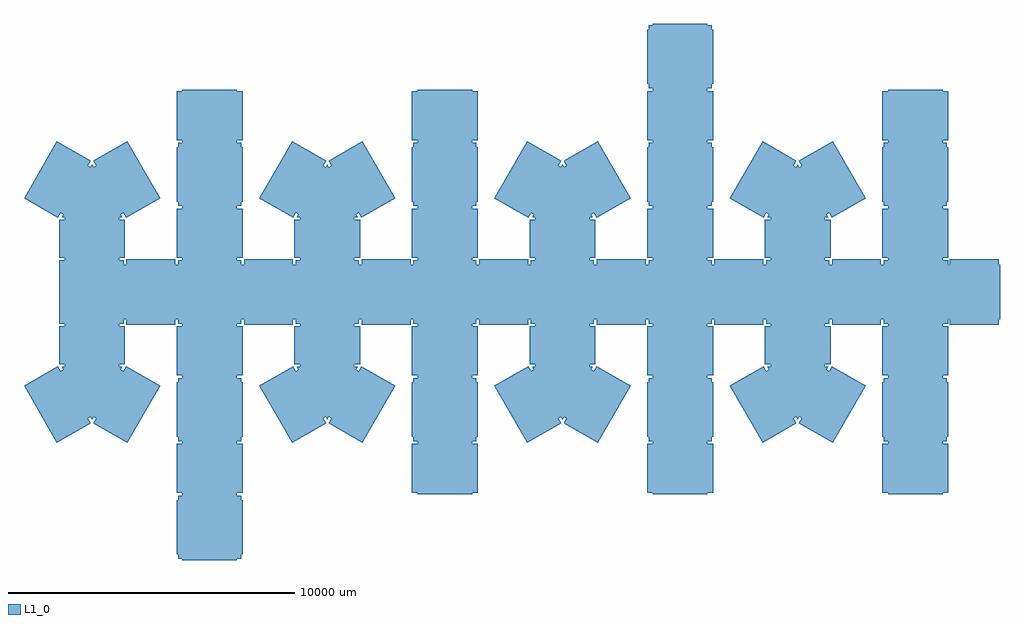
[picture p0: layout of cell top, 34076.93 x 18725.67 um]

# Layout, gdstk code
from math import pi, radians
import gdstk
lib = gdstk.Library(unit=1e-6, precision=1e-09)
def P(c, l, *ps):  # polygons
    for p in ps: c.add(gdstk.Polygon(p, *l))
L1_0 = (1, 0)

connector_6notches = lib.new_cell('connector_6notches')
P(connector_6notches, L1_0, [(2250,2100),(2250,2250),(2100,2250),(2100,2300),(200,2300),(200,2250),(0,2250),(0,50),(200,50),(200,0),(2100,0),(2100,50),(2250,50),(2250,200),(2300,200),(2300,2100)])

connector = lib.new_cell('connector')
P(connector, L1_0, [(2250,2100),(2250,2250),(2100,2250),(2100,2300),(200,2300),(200,2250),(50,2250),(50,2100),(0,2100),(0,200),(50,200),(50,50),(200,50),(200,0),(2100,0),(2100,50),(2250,50),(2250,200),(2300,200),(2300,2100)])

l1_rec = lib.new_cell('l1_rec')
P(l1_rec, L1_0, [(2100,1365.189),(2100,1415.189),(200,1415.189),(200,1365.189),(0,1365.189),(0,50),(200,50),(200,0),(2100,0),(2100,50),(2300,50),(2300,1365.189)])

l1_rec_2notches = lib.new_cell('l1_rec_2notches')
P(l1_rec_2notches, L1_0, [(200,0),(2100,0),(2100,50),(2300,50),(2300,1415.189),(0,1415.189),(0,50),(200,50)])

l1_rec_60deg = lib.new_cell('l1_rec_60deg')
r = gdstk.Reference(l1_rec_2notches, (0,0), rotation=radians(60)); r.repetition = gdstk.Repetition(1, 1, v1=(0,0), v2=(0,0)); l1_rec_60deg.add(r)

l1_rec_120deg_xref = lib.new_cell('l1_rec_120deg_xref')
r = gdstk.Reference(l1_rec_2notches, (0,0), rotation=radians(120.001), x_reflection=True); r.repetition = gdstk.Repetition(1, 1, v1=(0,0), v2=(0,0)); l1_rec_120deg_xref.add(r)

l1_rec_m60deg_xref = lib.new_cell('l1_rec_m60deg_xref')
r = gdstk.Reference(l1_rec_2notches, (0,0), rotation=radians(-59.999), x_reflection=True); r.repetition = gdstk.Repetition(1, 1, v1=(0,0), v2=(0,0)); l1_rec_m60deg_xref.add(r)

l1_rec_60deg_xref = lib.new_cell('l1_rec_60deg_xref')
r = gdstk.Reference(l1_rec_2notches, (0,0), rotation=radians(-120.001)); r.repetition = gdstk.Repetition(1, 1, v1=(0,0), v2=(0,0)); l1_rec_60deg_xref.add(r)

l2_rec = lib.new_cell('l2_rec')
P(l2_rec, L1_0, [(2100,1756.418),(2100,1806.418),(200,1806.418),(200,1756.418),(0,1756.418),(0,50),(200,50),(200,0),(2100,0),(2100,50),(2300,50),(2300,1756.418)])

l2_rec_90deg = lib.new_cell('l2_rec_90deg')
r = gdstk.Reference(l2_rec, (0,0), rotation=pi/2); r.repetition = gdstk.Repetition(1, 1, v1=(0,0), v2=(0,0)); l2_rec_90deg.add(r)

triangle = lib.new_cell('triangle')
P(triangle, L1_0, [(1206.699,1793.653),(1149.948,1891.949),(1093.094,1793.713),(1050,1818.653),(100,173.205),(143.301,148.205),(86.602,50),(200,50),(200,0),(2100,0),(2100,50),(2213.398,50),(2156.699,148.205),(2200,173.205),(1250,1818.653)])

top = lib.new_cell('top')
r = gdstk.Reference(connector_6notches, (0,0)); r.repetition = gdstk.Repetition(1, 1, v1=(0,0), v2=(0,0)); top.add(r)
r = gdstk.Reference(connector_6notches, (31044.923,0), rotation=pi, x_reflection=True); r.repetition = gdstk.Repetition(1, 1, v1=(0,0), v2=(0,0)); top.add(r)
r = gdstk.Reference(connector, (4106.418,0)); r.repetition = gdstk.Repetition(6, 1, v1=(4106.4175,0), v2=(0,0)); top.add(r)
r = gdstk.Reference(connector, (4106.418,-4106.418)); r.repetition = gdstk.Repetition(4, 2, v1=(8212.835,0), v2=(0,8212.8355)); top.add(r)
r = gdstk.Reference(connector, (4106.418,-8212.835)); r.repetition = gdstk.Repetition(1, 1, v1=(0,0), v2=(0,0)); top.add(r)
r = gdstk.Reference(connector, (20532.088,8212.835)); r.repetition = gdstk.Repetition(1, 1, v1=(0,0), v2=(0,0)); top.add(r)
r = gdstk.Reference(l1_rec, (0,-1415.189)); r.repetition = gdstk.Repetition(4, 2, v1=(8212.8353,0), v2=(0,3715.189)); top.add(r)
r = gdstk.Reference(l1_rec_60deg, (0,3715.189)); r.repetition = gdstk.Repetition(4, 1, v1=(8212.8353,0), v2=(0,0)); top.add(r)
r = gdstk.Reference(l1_rec_120deg_xref, (2300,3715.189)); r.repetition = gdstk.Repetition(4, 1, v1=(8212.8353,0), v2=(0,0)); top.add(r)
r = gdstk.Reference(l1_rec_m60deg_xref, (0,-1415.189)); r.repetition = gdstk.Repetition(4, 1, v1=(8212.8353,0), v2=(0,0)); top.add(r)
r = gdstk.Reference(l1_rec_60deg_xref, (2300,-1415.189)); r.repetition = gdstk.Repetition(4, 1, v1=(8212.8353,0), v2=(0,0)); top.add(r)
r = gdstk.Reference(l2_rec, (4106.418,-5912.835)); r.repetition = gdstk.Repetition(4, 4, v1=(8212.835,0), v2=(0,4106.4175)); top.add(r)
r = gdstk.Reference(l2_rec_90deg, (4106.418,0)); r.repetition = gdstk.Repetition(8, 1, v1=(4106.4175,0), v2=(0,0)); top.add(r)
r = gdstk.Reference(triangle, (0,3715.189)); r.repetition = gdstk.Repetition(4, 1, v1=(8212.8353,0), v2=(0,0)); top.add(r)
r = gdstk.Reference(triangle, (0,-1415.189), x_reflection=True); r.repetition = gdstk.Repetition(4, 1, v1=(8212.8353,0), v2=(0,0)); top.add(r)

lib.write_gds('top.gds')
